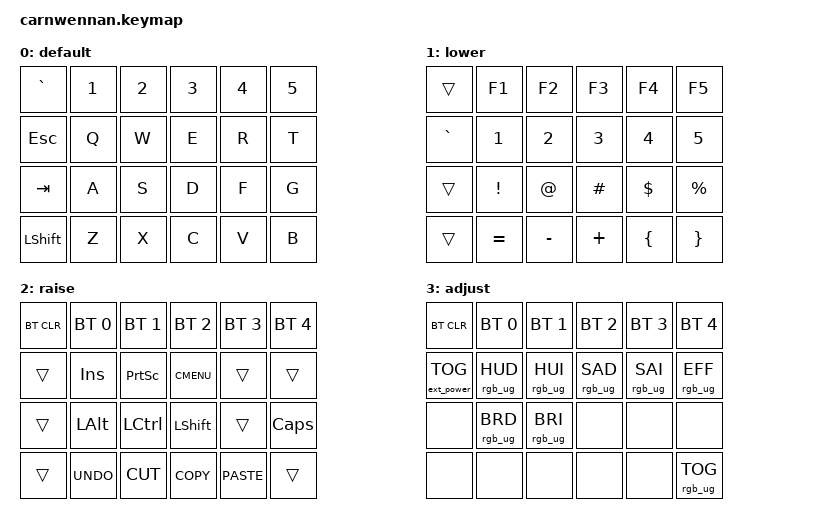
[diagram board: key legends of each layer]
/*
 * Copyright (c) 2020 The ZMK Contributors
 *
 * SPDX-License-Identifier: MIT
 */

#include <behaviors.dtsi>
#include <dt-bindings/zmk/keys.h>
#include <dt-bindings/zmk/bt.h>
#include <dt-bindings/zmk/rgb.h>
#include <dt-bindings/zmk/ext_power.h>

#define BASE 0
#define LOWER 1
#define RAISE 2
#define ADJUST 3

/ {

   // Activate ADJUST layer by pressing raise and lower
    conditional_layers {
        compatible = "zmk,conditional-layers";
        adjust_layer {
            if-layers = <LOWER RAISE>;
            then-layer = <ADJUST>;
        };
    };

    keymap {
        compatible = "zmk,keymap";

        default_layer {
            display-name = "default";
// ----------------------------------------------------------------------------
// |   `   |  1  |  2  |  3  |  4  |  5  |
// |  ESC  |  Q  |  W  |  E  |  R  |  T  |
// |  TAB  |  A  |  S  |  D  |  F  |  G  |
// | SHIFT |  Z  |  X  |  C  |  V  |  B  |
            bindings = <
&kp GRAVE &kp N1 &kp N2 &kp N3 &kp N4 &kp N5
&kp ESC   &kp Q  &kp W  &kp E  &kp R  &kp T
&kp TAB   &kp A  &kp S  &kp D  &kp F  &kp G
&kp LSHFT &kp Z  &kp X  &kp C  &kp V  &kp B
            >;
        };

        lower_layer {
            display-name = "lower";
// ----------------------------------------------------------------------------
// |       |  F1 |  F2 |  F3 |  F4 |  F5 |
// |   `   |  1  |  2  |  3  |  4  |  5  |
// |       |  !  |  @  |  #  |  $  |  %  |
// |       |  =  |  -  |  +  |  {  |  }  |
            bindings = <
&trans    &kp F1    &kp F2    &kp F3      &kp F4    &kp F5
&kp GRAVE &kp N1    &kp N2    &kp N3      &kp N4    &kp N5
&trans    &kp EXCL  &kp AT    &kp HASH    &kp DLLR  &kp PRCNT
&trans    &kp EQUAL &kp MINUS &kp PLUS    &kp LBRC  &kp RBRC
            >;
        };

        raise_layer {
            display-name = "raise";
// ----------------------------------------------------------------------------
// | BTCLR | BT1 | BT2 | BT3 | BT4 | BT5 |
// |       | INS | PSCR| GUI |     |     |
// |       | ALT | CTRL| SHIFT|    | CAPS|
// |       | UNDO| CUT | COPY| PASTE|    |
            bindings = <
&bt BT_CLR &bt BT_SEL 0 &bt BT_SEL 1 &bt BT_SEL 2 &bt BT_SEL 3 &bt BT_SEL 4
&trans     &kp INS      &kp PSCRN    &kp K_CMENU  &trans       &trans
&trans     &kp LALT     &kp LCTRL    &kp LSHFT    &trans       &kp CLCK
&trans     &kp K_UNDO   &kp K_CUT    &kp K_COPY   &kp K_PASTE  &trans
            >;
        };

        adjust_layer {
            display-name = "adjust";
// ----------------------------------------------------------------------------
// | BTCLR | BT1 | BT2 | BT3 | BT4 | BT5 |
// | EXTPWR| RGB_HUD|RGB_HUI|RGB_SAD|RGB_SAI|RGB_EFF|
// |       | RGB_BRD|RGB_BRI|       |       |       |
// |       |       |       |       |       | RGB_TOG|
            bindings = <
&bt BT_CLR        &bt BT_SEL 0    &bt BT_SEL 1    &bt BT_SEL 2    &bt BT_SEL 3    &bt BT_SEL 4
&ext_power EP_TOG &rgb_ug RGB_HUD &rgb_ug RGB_HUI &rgb_ug RGB_SAD &rgb_ug RGB_SAI &rgb_ug RGB_EFF
&none             &rgb_ug RGB_BRD &rgb_ug RGB_BRI &none           &none           &none
&none             &none           &none           &none           &none           &rgb_ug RGB_TOG
            >;
        };


    };
};
